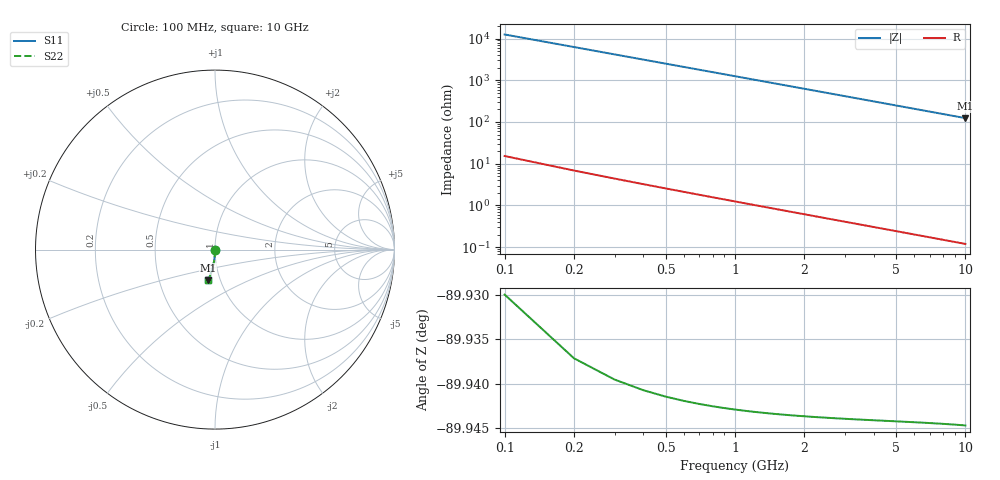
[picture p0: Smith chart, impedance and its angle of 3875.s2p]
# Hz S RI R 50.00
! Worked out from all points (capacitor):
!   100 points, 100 MHz to 10 GHz, reference 50 ohm
!   read as one part in shunt: C = 127 fF near 100 MHz
!   lowest |Z| = 124 ohm at 10 GHz (marker M1)
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1e8  5.75e-05 -0.00177  0.9999 -0.00223  0.9999 -0.00223  5.75e-05 -0.00177
2e8  4.42e-05 -0.00353  0.9999 -0.00447  0.9999 -0.00447  4.42e-05 -0.00353
3e8  2.28e-05 -0.0053  0.9999 -0.0067  0.9999 -0.0067  2.28e-05 -0.0053
4e8  -6.43e-06 -0.00706  0.9999 -0.00893  0.9999 -0.00893  -6.43e-06 -0.00706
5e8  -4.36e-05 -0.00883  0.9998 -0.0112  0.9998 -0.0112  -4.36e-05 -0.00883
6e8  -8.88e-05 -0.0106  0.9998 -0.0134  0.9998 -0.0134  -8.88e-05 -0.0106
7e8  -0.000142 -0.0124  0.9997 -0.0156  0.9997 -0.0156  -0.000142 -0.0124
8e8  -0.000203 -0.0141  0.9997 -0.0179  0.9997 -0.0179  -0.000203 -0.0141
9e8  -0.000272 -0.0159  0.9996 -0.0201  0.9996 -0.0201  -0.000272 -0.0159
1.1e9  -0.000433 -0.0194  0.9994 -0.0246  0.9994 -0.0246  -0.000433 -0.0194
1.4e9  -0.000735 -0.0247  0.9991 -0.0313  0.9991 -0.0313  -0.000735 -0.0247
1.8e9  -0.00125 -0.0318  0.9986 -0.0402  0.9986 -0.0402  -0.00125 -0.0318
2.1e9  -0.00172 -0.0371  0.9981 -0.0469  0.9981 -0.0469  -0.00172 -0.0371
2.5e9  -0.00245 -0.0441  0.9973 -0.0558  0.9973 -0.0558  -0.00245 -0.0441
2.9e9  -0.00331 -0.0512  0.9965 -0.0648  0.9965 -0.0648  -0.00331 -0.0512
3.4e9  -0.00457 -0.0599  0.9952 -0.0759  0.9952 -0.0759  -0.00457 -0.0599
4.2e9  -0.00699 -0.0739  0.9927 -0.0937  0.9927 -0.0937  -0.00699 -0.0739
5.1e9  -0.0103 -0.0896  0.9893 -0.1136  0.9893 -0.1136  -0.0103 -0.0896
5.9e9  -0.0138 -0.1034  0.9857 -0.1312  0.9857 -0.1312  -0.0138 -0.1034
6.7e9  -0.0178 -0.117  0.9816 -0.1486  0.9816 -0.1486  -0.0178 -0.117
8.4e9  -0.0278 -0.1454  0.9713 -0.1852  0.9713 -0.1852  -0.0278 -0.1454
1e10  -0.0391 -0.1712  0.9596 -0.2187  0.9596 -0.2187  -0.0391 -0.1712
